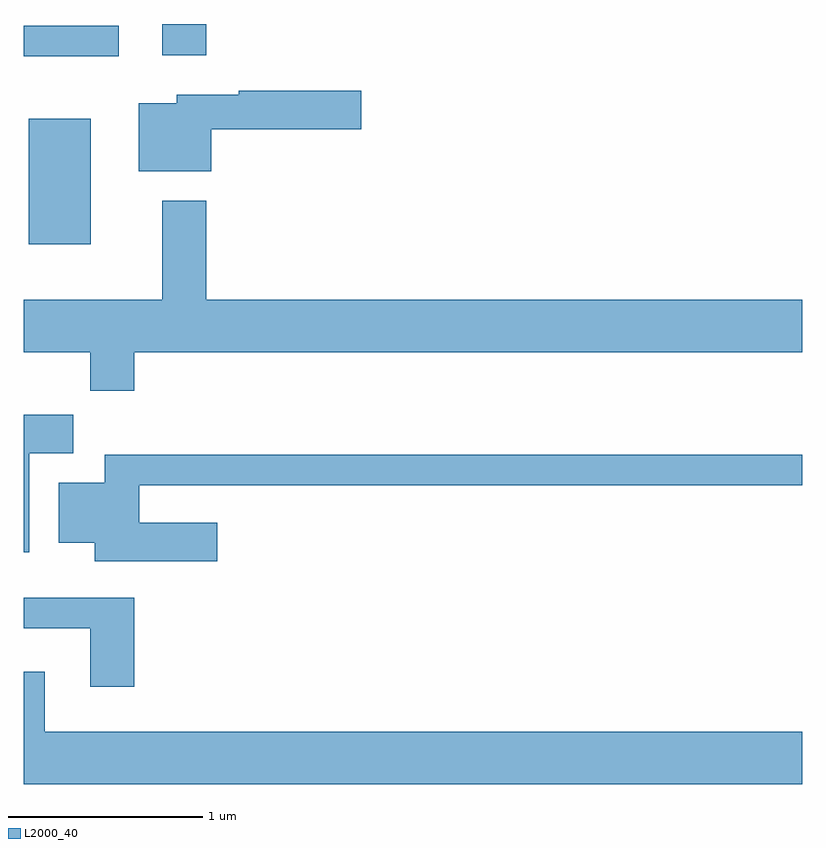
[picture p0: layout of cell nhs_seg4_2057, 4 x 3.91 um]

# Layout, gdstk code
import gdstk
lib = gdstk.Library(unit=1e-6, precision=1e-09)
def R(c, l, rs):  # rectangles x0, y0, x1, y1
    for r in rs: c.add(gdstk.rectangle(r[:2], r[2:], *l))
def P(c, l, *ps):  # polygons
    for p in ps: c.add(gdstk.Polygon(p, *l))
L2000_40 = (2000, 40)

nhs_seg4_2057 = lib.new_cell('nhs_seg4_2057')
R(nhs_seg4_2057, L2000_40, [(245.636,1290.851,245.954,1291.494), (245.611,1291.816,246.098,1291.974), (246.321,1291.821,246.549,1291.982)])
P(nhs_seg4_2057, L2000_40, [(246.574,1291.441),(247.344,1291.441),(247.344,1291.639),(246.716,1291.639),(246.716,1291.619),(246.396,1291.619),(246.396,1291.574),(246.201,1291.574),(246.201,1291.226),(246.574,1291.226)],
  [(246.179,1290.296),(249.611,1290.296),(249.611,1290.564),(246.549,1290.564),(246.549,1291.074),(246.321,1291.074),(246.321,1290.564),(245.611,1290.564),(245.611,1290.296),(245.951,1290.296),(245.951,1290.096),(246.179,1290.096)],
  [(245.639,1289.776),(245.864,1289.776),(245.864,1289.974),(245.611,1289.974),(245.611,1289.266),(245.639,1289.266)],
  [(246.604,1289.419),(246.204,1289.419),(246.204,1289.611),(249.611,1289.611),(249.611,1289.769),(246.026,1289.769),(246.026,1289.624),(245.791,1289.624),(245.791,1289.316),(245.976,1289.316),(245.976,1289.221),(246.604,1289.221)],
  [(246.179,1289.034),(245.611,1289.034),(245.611,1288.876),(245.951,1288.876),(245.951,1288.576),(246.179,1288.576)],
  [(249.611,1288.344),(245.719,1288.344),(245.719,1288.654),(245.611,1288.654),(245.611,1288.076),(249.611,1288.076)])

lib.write_gds('nhs_seg4_2057.gds')
